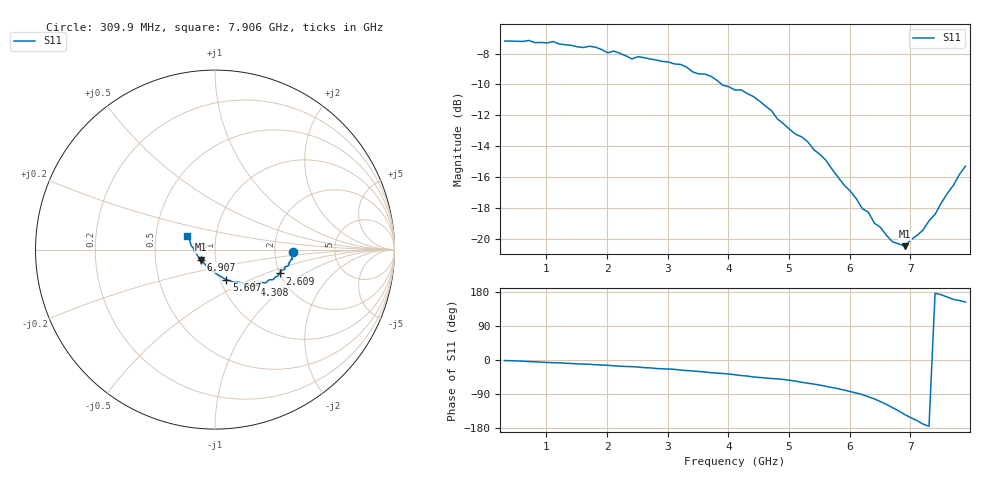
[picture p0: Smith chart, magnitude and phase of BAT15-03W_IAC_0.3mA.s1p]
! Infineon Technologies  Discrete & RF Semiconductors
! BAT15-03W-E6327
! IAC = 0.3 mA
! One-Port S-Parameters
# Hz  S  MA  R  50
!f  S11
!Hz  Mag  Ang
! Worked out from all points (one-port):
!   77 points, 309.9 MHz to 7.906 GHz, reference 50 ohm
!   lowest |S11| = -20.5 dB at 6.907 GHz (marker M1), VSWR 1.21, Z = 42.6 - j4.8 ohm
!   |S11| at or under -10 dB: 3.892 GHz to end of sweep
!   S11 on the Smith chart (normalised r, x): 309.9 MHz: 2.55, -0.07; 2.609 GHz: 2.01, -0.63; 4.308 GHz: 1.40, -0.61; 5.607 GHz: 1.07, -0.37; 6.907 GHz: 0.85, -0.10; 7.906 GHz: 0.73, +0.12
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3.0985e8  0.4368 -1.5
1.10945e9  0.4353 -7.1
1.30935e9  0.4251 -8.5
1.70915e9  0.4204 -11.3
2.009e9  0.4004 -14.0
2.2089e9  0.3988 -16.3
2.4088e9  0.3826 -17.5
2.6087e9  0.3862 -20.1
3.2084e9  0.3672 -26.4
3.4083e9  0.3476 -28.8
3.70815e9  0.3363 -33.5
4.10795e9  0.3032 -39.0
4.30785e9  0.2958 -42.3
4.70765e9  0.2604 -48.9
4.8076e9  0.2447 -49.7
5.10745e9  0.2183 -55.9
5.30735e9  0.2064 -61.2
5.6072e9  0.1798 -69.4
6.007e9  0.1431 -83.3
6.2069e9  0.1255 -91.2
6.30685e9  0.1221 -97.2
6.4068e9  0.1126 -102.7
6.70665e9  0.09794 -126.0
6.90655e9  0.09489 -144.0
7.0065e9  0.09955 -152.1
7.2064e9  0.107 -169.0
7.4063e9  0.1203 176.3
7.90605e9  0.172 153.0
